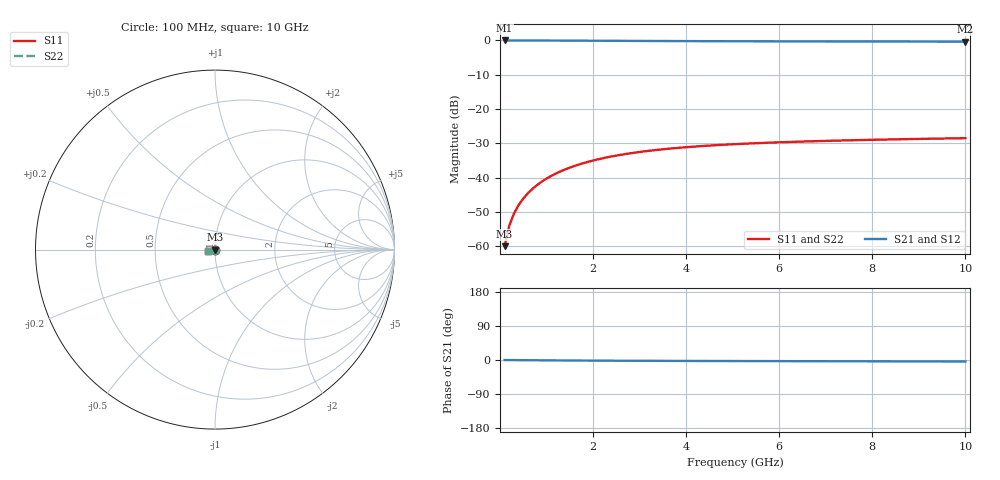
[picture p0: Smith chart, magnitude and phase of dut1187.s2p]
! Touchstone file exported from HFSS 2024.1.0
!  File:  C:/UserFiles/LocalFiles/RDL_TSV_Batchsim/temp_TSV1_1187_1780075286.aedt
!  Generated:  01:25:38 AM May 30, 2026
!  Design:  TSV1
!  Project:  temp_TSV1_1187_1780075286
!  Setup:  Setup1
!  Solution:  Sweep
! Variables:
!  dtsv = 10.63um
!  hbump = 3um
!  htsv = 60.05um
!  lrdl = 252.1521522um
!  p = 40
!  p1 = 45.19um
!  t = 500um
!  trdl = 3um
!  wrdl = 24.89489489um
# GHz S MA R 50.000000
! Terminal data exported
! Port[1] = TSV22_T1
! Port[2] = TSV22_T2
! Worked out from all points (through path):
!   100 points, 100 MHz to 10 GHz, reference 50 ohm
!   highest |S21| = 0.00 dB at 100 MHz (marker M1); lowest = -0.3 dB at 10 GHz (marker M2)
!   lowest |S11| = -59.9 dB at 100 MHz (marker M3), VSWR 1.00, Z = 50 - j0.101 ohm
!   |S11| at or under -10 dB: start of sweep to end of sweep
!   |S22| runs from -59.9 to -28.5 dB; largest |S21 - S12| = 2.1e-15
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0.1  0.001011 -85.4  0.9999 -0.1  0.9999 -0.1  0.001011 -85.4
! Gamma 0 0 0 0
! Port Impedance 50 0 50 0
0.2  0.002011 -90.2  0.9998 -0.2  0.9998 -0.2  0.002011 -90.2
0.3  0.003009 -92.9  0.9996 -0.3  0.9996 -0.3  0.003009 -92.9
0.4  0.004001 -95.1  0.9994 -0.4  0.9994 -0.4  0.004001 -95.1
0.5  0.004986 -97.0  0.9991 -0.5  0.9991 -0.5  0.004986 -97.0
0.6  0.005962 -98.9  0.9988 -0.6  0.9988 -0.6  0.005962 -98.9
0.7  0.006927 -100.6  0.9984 -0.7  0.9984 -0.7  0.006927 -100.6
0.8  0.007878 -102.3  0.998 -0.7  0.998 -0.7  0.007878 -102.3
0.9  0.008815 -104.0  0.9975 -0.8  0.9975 -0.8  0.008815 -104.0
1.1  0.01064 -107.2  0.9965 -1.0  0.9965 -1.0  0.01064 -107.2
1.4  0.01323 -111.8  0.9947 -1.2  0.9947 -1.2  0.01323 -111.8
1.6  0.01486 -114.7  0.9934 -1.4  0.9934 -1.4  0.01486 -114.7
1.8  0.0164 -117.5  0.992 -1.5  0.992 -1.5  0.0164 -117.5
2.1  0.01853 -121.4  0.9899 -1.7  0.9899 -1.7  0.01853 -121.4
2.5  0.02107 -126.3  0.9872 -1.9  0.9872 -1.9  0.02107 -126.3
2.9  0.02327 -130.8  0.9845 -2.1  0.9845 -2.1  0.02327 -130.8
3.4  0.02561 -135.8  0.9814 -2.3  0.9814 -2.3  0.02561 -135.8
4.2  0.02856 -142.6  0.977 -2.5  0.977 -2.5  0.02856 -142.6
5.1  0.03102 -149.0  0.973 -2.8  0.973 -2.8  0.03102 -149.0
6.7  0.03404 -158.0  0.9677 -3.2  0.9677 -3.2  0.03404 -158.0
8.4  0.03621 -165.4  0.964 -3.6  0.964 -3.6  0.03621 -165.4
10  0.03776 -171.3  0.9616 -4.0  0.9616 -4.0  0.03776 -171.3
